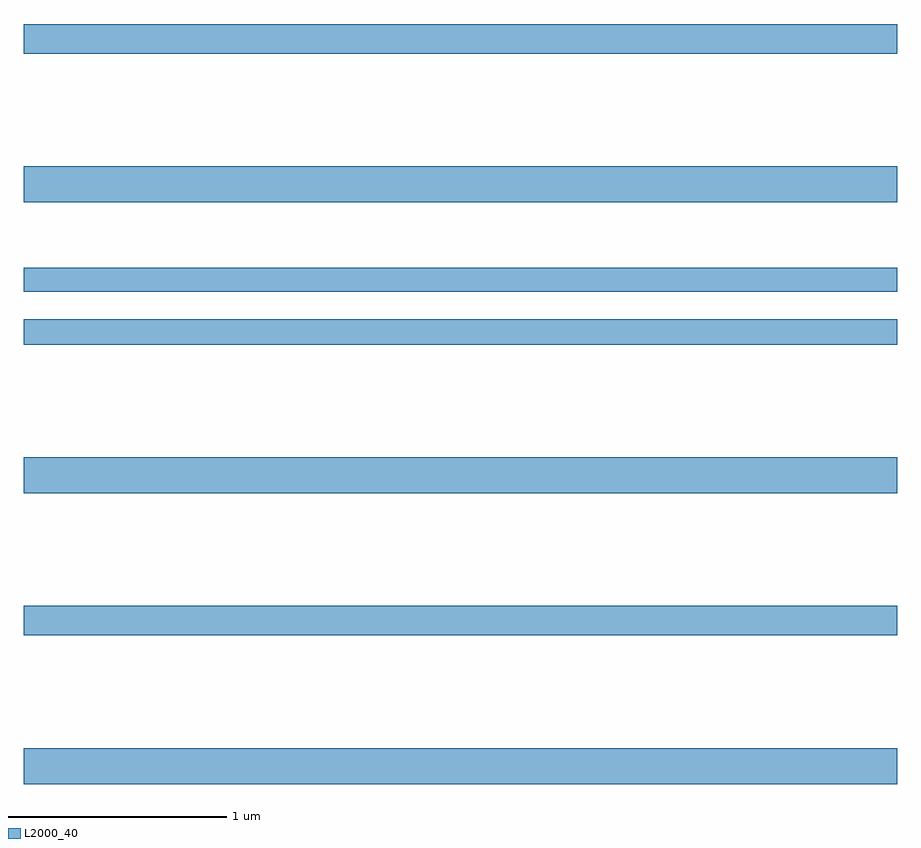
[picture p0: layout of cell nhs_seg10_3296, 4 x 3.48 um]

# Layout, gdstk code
import gdstk
lib = gdstk.Library(unit=1e-6, precision=1e-09)
def R(c, l, rs):  # rectangles x0, y0, x1, y1
    for r in rs: c.add(gdstk.rectangle(r[:2], r[2:], *l))
def A(c, l, x, y, w, h, nx, ny, dx, dy):  # array of equal rectangles
    R(c, l, [(x+i*dx, y+j*dy, x+i*dx+w, y+j*dy+h) for i in range(nx) for j in range(ny)])
L2000_40 = (2000, 40)

nhs_seg10_3296 = lib.new_cell('nhs_seg10_3296')
A(nhs_seg10_3296, L2000_40, 289, 1314.968, 4, 0.164, 1, 3, 0, 1.332)
R(nhs_seg10_3296, L2000_40, [(289,1315.648,293,1315.784), (289,1316.98,293,1317.096), (289,1317.222,293,1317.331), (289,1318.312,293,1318.448)])

lib.write_gds('nhs_seg10_3296.gds')
